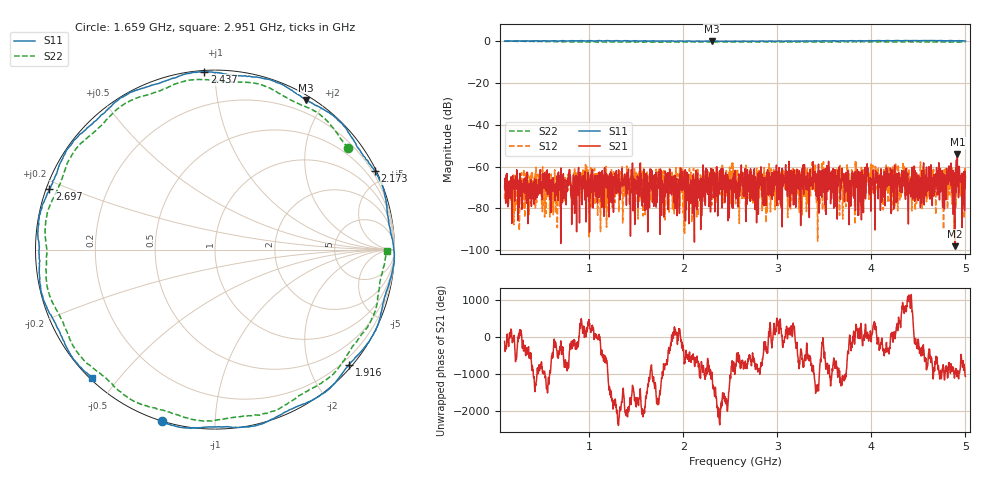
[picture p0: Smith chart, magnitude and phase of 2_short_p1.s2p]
!Keysight Technologies N9917A: A.12.46
!Date: Thursday, 09 November 2023 20:32:33
!Timezone: (UTC-03:00) Buenos Aires
!Model: N9917A
!Serial: MY56072049
!GPS Latitude:
!GPS Longitude:
!GPS TimeStamp: 0001-01-01 00:00:00Z
!GPS Seconds Since Last Read: 0
!CHECKSUM:0847198808
!Correction: S11(ON U)S21(ON U)S12(ON U)S22(ON U)
!S2P File: Measurements:S11,S21,S12,S22:
# Hz S DB R 50
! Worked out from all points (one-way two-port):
!   1601 points, 100 MHz to 5 GHz, reference 50 ohm
!   highest |S21| = -54.20 dB at 4.914 GHz (marker M1); lowest = -98.0 dB at 4.887 GHz (marker M2)
!   lowest |S11| = -0.2 dB at 2.302 GHz (marker M3), VSWR 79.03, Z = 2.62 + j88.7 ohm
!   |S11| at or under -10 dB: nowhere
!   |S22| runs from -0.6 to 0.0 dB; largest |S21 - S12| = 0.0021
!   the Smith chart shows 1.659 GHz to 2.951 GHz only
!   S11 on the Smith chart (normalised r, x): 1.659 GHz: -0.00, -0.74; 1.916 GHz: 0.06, -2.70; 2.173 GHz: 0.08, +4.29; 2.437 GHz: 0.01, +0.94; 2.697 GHz: 0.01, +0.18; 2.951 GHz: 0.01, -0.43
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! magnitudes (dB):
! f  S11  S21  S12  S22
! 100 MHz  -0.1  -70.1  -75.5  0.0
! 917.7 MHz  0.1  -68.3  -75.4  -0.5
! 1.659 GHz  0.0  -70.1  -76.5  -0.6
! 1.735 GHz  -0.1  -62.3  -64.0  -0.5
! 1.916 GHz  -0.1  -80.0  -72.4  -0.4
! 2.173 GHz  -0.1  -68.0  -68.0  -0.5
! 2.302 GHz  -0.2  -69.2  -61.5  -0.4
! 2.437 GHz  -0.1  -64.2  -69.6  -0.5
! 2.55 GHz  -0.1  -68.7  -65.4  -0.5
! 2.697 GHz  -0.1  -69.2  -66.8  -0.5
! 2.951 GHz  -0.1  -67.5  -70.3  -0.4
! 3.368 GHz  -0.1  -65.2  -58.1  -0.5
! 3.518 GHz  0.0  -82.8  -64.6  -0.4
! 3.567 GHz  0.0  -77.7  -63.4  -0.5
! 3.714 GHz  0.0  -76.7  -63.8  -0.4
! 4.185 GHz  0.2  -69.0  -60.4  -0.4
! 4.709 GHz  0.1  -61.8  -72.7  -0.5
! 4.773 GHz  0.1  -68.3  -64.9  -0.5
! 4.832 GHz  0.2  -67.2  -62.9  -0.6
! 4.887 GHz  0.0  -98.0  -71.9  -0.5
! 4.914 GHz  0.1  -54.2  -66.1  -0.6
! 5 GHz  0.0  -64.4  -66.3  -0.6
